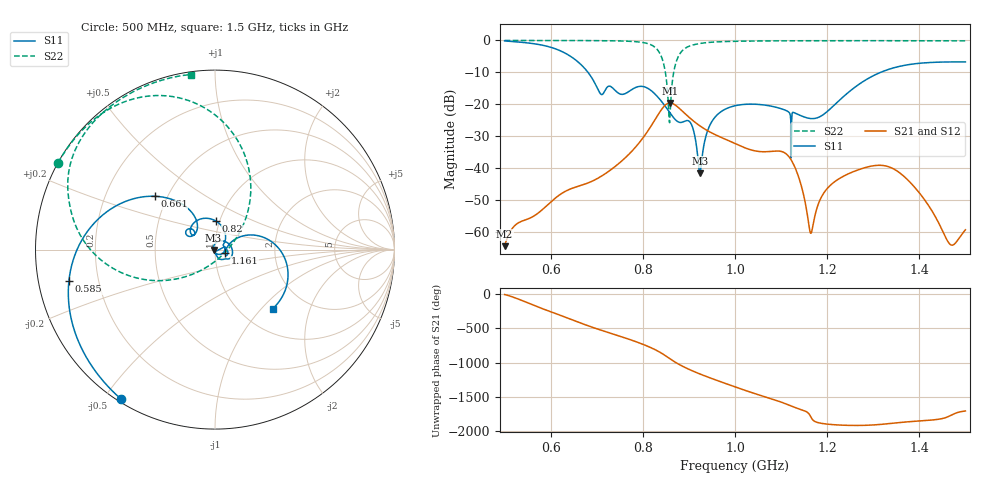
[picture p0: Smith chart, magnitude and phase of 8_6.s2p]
! TOUCHSTONE file generated by CST MICROWAVE STUDIO
! Date and time: Sat Oct 24 11:43:39 2020
! Project name: Scenario_1_Circular_Tissue_out_of_Line.cst
! Parameters = {dy1=-224.613; L_HA=400; MT=2.54; Rad_Dielectric=30; Rad_Lower=7.3; Rad_Upper=30; a_HA=580; a_WG=246; b_HA=500; b_WG=121; c_HA=0; c_WG=187; d_feed=85; dx1=1039; h_feed=15; h_lower=18; h_upper=40}
! Header version: 2018
! Port assignment regex: !\s*Touchstone port\s*([0-9]+)\s*=\s*(CST MWS port|CST DS port)\s*([0-9]+|Zmin|Zmax)\s*\(\"(.*)\"\)(\s*mode\s*([0-9]+))?.*
! Touchstone port assignment:
! Touchstone port 1 = CST MWS port 1 ("")
! Touchstone port 2 = CST MWS port 2 ("")
# GHz S DB R 50
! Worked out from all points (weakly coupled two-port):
!   1001 points, 500 MHz to 1.5 GHz, reference 50 ohm
!   highest |S21| = -19.62 dB at 859 MHz (marker M1); lowest = -64.6 dB at 500 MHz (marker M2)
!   lowest |S11| = -41.7 dB at 924 MHz (marker M3), VSWR 1.02, Z = 49.2 - j0.157 ohm
!   |S11| at or under -10 dB: 680.9 MHz to 1.316 GHz (635.4 MHz wide, 63.6 % of centre)
!   |S22| runs from -25.8 to 0.0 dB; largest |S21 - S12| = 2.2e-05
!   S11 on the Smith chart (normalised r, x): 500 MHz: 0.01, -0.55; 585 MHz: 0.09, -0.11; 661 MHz: 0.43, +0.32; 820 MHz: 0.96, +0.31; 1.161 GHz: 1.12, -0.04; 1.5 GHz: 1.38, -1.16
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0.5  -0.15 -122.3  -64.58 -6.0  -64.58 -6.0  -0.01 151.1
0.585  -1.59 -167.8  -52.70 140.0  -52.70 140.0  -0.02 145.3
0.661  -6.95 138.6  -45.73 -52.0  -45.73 -52.0  -0.04 138.9
0.667  -7.76 134.5  -45.45 -67.2  -45.45 -67.2  -0.04 138.4
0.71  -16.97 139.0  -42.61 -168.0  -42.61 -168.0  -0.08 133.6
0.82  -15.98 88.0  -26.38 -69.4  -26.38 -69.4  -1.54 99.4
0.834  -18.01 68.4  -23.11 -116.8  -23.11 -116.8  -3.37 83.2
0.859  -22.76 40.0  -19.62 135.4  -19.62 135.4  -23.37 -92.1
0.878  -25.64 30.2  -21.18 56.1  -21.18 56.1  -4.77 -169.6
0.905  -26.23 -22.9  -24.71 -32.8  -24.71 -32.8  -1.58 164.7
0.924  -41.70 -168.8  -26.84 -86.5  -26.84 -86.5  -0.96 156.4
0.95  -25.41 62.0  -29.07 -153.4  -29.07 -153.4  -0.55 148.9
1  -20.51 3.4  -32.37 85.9  -32.37 86.0  -0.27 140.2
1.115  -22.31 -42.7  -36.15 -175.3  -36.14 -175.3  -0.11 128.4
1.141  -23.51 -27.6  -44.19 120.0  -44.21 120.0  -0.10 126.3
1.161  -24.46 -16.5  -58.60 47.3  -58.70 47.2  -0.10 124.7
1.167  -24.54 -11.5  -59.68 -21.2  -59.71 -22.0  -0.09 124.2
1.213  -20.63 23.3  -44.70 -106.0  -44.70 -106.0  -0.09 120.6
1.334  -9.05 1.5  -39.68 -91.0  -39.70 -91.0  -0.09 111.5
1.401  -7.16 -22.3  -48.02 -51.6  -48.01 -51.5  -0.10 106.2
1.467  -6.75 -39.4  -64.03 24.7  -63.81 24.2  -0.12 100.7
1.5  -6.74 -45.8  -59.44 93.6  -59.42 92.6  -0.13 97.9
